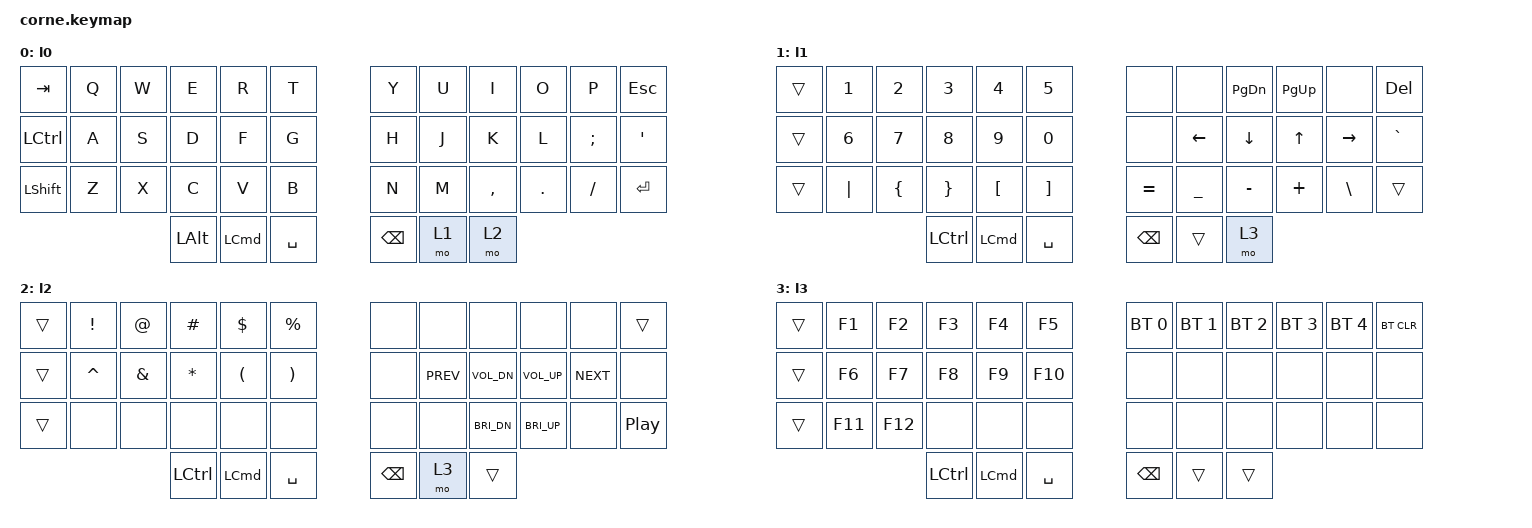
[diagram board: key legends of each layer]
#include <behaviors.dtsi>
#include <dt-bindings/zmk/keys.h>
#include <dt-bindings/zmk/bt.h>

/ {
  keymap {
    compatible = "zmk,keymap";

    l0 { bindings = <
//    ┌───────┬───┬───┬──────┬──────┬───────┐   ┌────┬────┬────┬───┬───┬─────┐
//    │  TAB  │ Q │ W │  E   │  R   │   T   │   │ Y  │ U  │ I  │ O │ P │ ESC │
//    ├───────┼───┼───┼──────┼──────┼───────┤   ├────┼────┼────┼───┼───┼─────┤
//    │ LCTRL │ A │ S │  D   │  F   │   G   │   │ H  │ J  │ K  │ L │ ; │  '  │
//    ├───────┼───┼───┼──────┼──────┼───────┤   ├────┼────┼────┼───┼───┼─────┤
//    │ LSHFT │ Z │ X │  C   │  V   │   B   │   │ N  │ M  │ ,  │ . │ / │ RET │
//    └───────┴───┴───┼──────┼──────┼───────┤   ├────┼────┼────┼───┴───┴─────┘
//                    │ LALT │ LCMD │ SPACE │   │ 󰭜  │ L1 │ L2 │              
//                    └──────┴──────┴───────┘   └────┴────┴────┘              
  &kp TAB     &kp Q   &kp W   &kp E      &kp R      &kp T           &kp Y      &kp U   &kp I       &kp O     &kp P      &kp ESC
  &kp LCTRL   &kp A   &kp S   &kp D      &kp F      &kp G           &kp H      &kp J   &kp K       &kp L     &kp SEMI   &kp SQT
  &kp LSHFT   &kp Z   &kp X   &kp C      &kp V      &kp B           &kp N      &kp M   &kp COMMA   &kp DOT   &kp FSLH   &kp RET
                              &kp LALT   &kp LCMD   &kp SPACE       &kp BSPC   &mo 1   &mo 2                                   
    >; };

    l1 { bindings = <
//    ┌───┬───┬───┬───────┬──────┬───────┐   ┌────┬──────┬───────┬───────┬───────┬─────┐
//    │  │ 1 │ 2 │   3   │  4   │   5   │   │    │      │ PG_DN │ PG_UP │       │ DEL │
//    ├───┼───┼───┼───────┼──────┼───────┤   ├────┼──────┼───────┼───────┼───────┼─────┤
//    │  │ 6 │ 7 │   8   │  9   │   0   │   │    │ LEFT │ DOWN  │  UP   │ RIGHT │  ~  │
//    ├───┼───┼───┼───────┼──────┼───────┤   ├────┼──────┼───────┼───────┼───────┼─────┤
//    │  │ | │ { │   }   │  [   │   ]   │   │ =  │  _   │   -   │   +   │   \   │    │
//    └───┴───┴───┼───────┼──────┼───────┤   ├────┼──────┼───────┼───────┴───────┴─────┘
//                │ LCTRL │ LCMD │ SPACE │   │ 󰭜  │     │  L3   │                      
//                └───────┴──────┴───────┘   └────┴──────┴───────┘                      
  &trans   &kp N1     &kp N2     &kp N3      &kp N4     &kp N5          &none       &none       &kp PG_DN   &kp PG_UP   &none       &kp DEL  
  &trans   &kp N6     &kp N7     &kp N8      &kp N9     &kp N0          &none       &kp LEFT    &kp DOWN    &kp UP      &kp RIGHT   &kp GRAVE
  &trans   &kp PIPE   &kp LBRC   &kp RBRC    &kp LBKT   &kp RBKT        &kp EQUAL   &kp UNDER   &kp MINUS   &kp PLUS    &kp BSLH    &trans   
                                 &kp LCTRL   &kp LCMD   &kp SPACE       &kp BSPC    &trans      &mo 3                                        
    >; };

    l2 { bindings = <
//    ┌───┬───┬───┬───────┬──────┬───────┐   ┌────┬──────┬───────┬───────┬──────┬───────┐
//    │  │ ! │ @ │   #   │  $   │ PRCNT │   │    │      │       │       │      │      │
//    ├───┼───┼───┼───────┼──────┼───────┤   ├────┼──────┼───────┼───────┼──────┼───────┤
//    │  │ ^ │ & │   *   │  (   │   )   │   │    │ BACK │ VOL - │ VOL + │ SKIP │       │
//    ├───┼───┼───┼───────┼──────┼───────┤   ├────┼──────┼───────┼───────┼──────┼───────┤
//    │  │   │   │       │      │       │   │    │      │ BRI - │ BRI + │      │ PAUSE │
//    └───┴───┴───┼───────┼──────┼───────┤   ├────┼──────┼───────┼───────┴──────┴───────┘
//                │ LCTRL │ LCMD │ SPACE │   │ 󰭜  │  L3  │      │                       
//                └───────┴──────┴───────┘   └────┴──────┴───────┘                       
  &trans   &kp EXCL    &kp AT     &kp HASH    &kp DLLR   &kp PRCNT       &none      &none        &none          &none          &none        &trans  
  &trans   &kp CARET   &kp AMPS   &kp ASTRK   &kp LPAR   &kp RPAR        &none      &kp C_PREV   &kp C_VOL_DN   &kp C_VOL_UP   &kp C_NEXT   &none   
  &trans   &none       &none      &none       &none      &none           &none      &none        &kp C_BRI_DN   &kp C_BRI_UP   &none        &kp C_PP
                                  &kp LCTRL   &kp LCMD   &kp SPACE       &kp BSPC   &mo 3        &trans                                             
    >; };

    l3 { bindings = <
//    ┌───┬─────┬─────┬───────┬──────┬───────┐   ┌──────┬──────┬──────┬──────┬──────┬──────────┐
//    │  │ F1  │ F2  │  F3   │  F4  │  F5   │   │ BT 0 │ BT 1 │ BT 2 │ BT 3 │ BT 4 │ BT CLEAR │
//    ├───┼─────┼─────┼───────┼──────┼───────┤   ├──────┼──────┼──────┼──────┼──────┼──────────┤
//    │  │ F6  │ F7  │  F8   │  F9  │  F10  │   │      │      │      │      │      │          │
//    ├───┼─────┼─────┼───────┼──────┼───────┤   ├──────┼──────┼──────┼──────┼──────┼──────────┤
//    │  │ F11 │ F12 │       │      │       │   │      │      │      │      │      │          │
//    └───┴─────┴─────┼───────┼──────┼───────┤   ├──────┼──────┼──────┼──────┴──────┴──────────┘
//                    │ LCTRL │ LCMD │ SPACE │   │  󰭜   │     │     │                         
//                    └───────┴──────┴───────┘   └──────┴──────┴──────┘                         
  &trans   &kp F1    &kp F2    &kp F3      &kp F4     &kp F5          &bt BT_SEL 0   &bt BT_SEL 1   &bt BT_SEL 2   &bt BT_SEL 3   &bt BT_SEL 4   &bt BT_CLR
  &trans   &kp F6    &kp F7    &kp F8      &kp F9     &kp F10         &none          &none          &none          &none          &none          &none     
  &trans   &kp F11   &kp F12   &none       &none      &none           &none          &none          &none          &none          &none          &none     
                               &kp LCTRL   &kp LCMD   &kp SPACE       &kp BSPC       &trans         &trans                                                 
    >; };

  };
};
